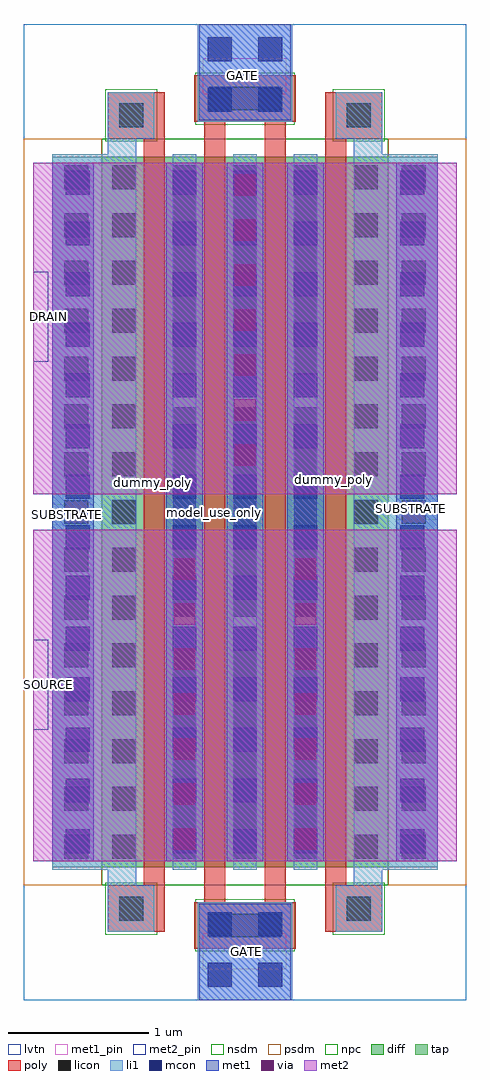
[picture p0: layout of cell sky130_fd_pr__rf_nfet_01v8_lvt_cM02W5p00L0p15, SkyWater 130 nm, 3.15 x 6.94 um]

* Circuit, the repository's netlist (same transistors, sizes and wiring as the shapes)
* Copyright 2020 The SkyWater PDK Authors
*
* Licensed under the Apache License, Version 2.0 (the "License");
* you may not use this file except in compliance with the License.
* You may obtain a copy of the License at
*
*     https://www.apache.org/licenses/LICENSE-2.0
*
* Unless required by applicable law or agreed to in writing, software
* distributed under the License is distributed on an "AS IS" BASIS,
* WITHOUT WARRANTIES OR CONDITIONS OF ANY KIND, either express or implied.
* See the License for the specific language governing permissions and
* limitations under the License.
*
* SPDX-License-Identifier: Apache-2.0


.subckt sky130_fd_pr__rf_nfet_01v8_lvt_cM02W5p00L0p15 DRAIN GATE SOURCE SUBSTRATE
X0 SOURCE SUBSTRATE SUBSTRATE SUBSTRATE sky130_fd_pr__nfet_01v8_lvt w=5.05e+06u l=150000u
X1 DRAIN GATE SOURCE SUBSTRATE sky130_fd_pr__nfet_01v8_lvt w=5.05e+06u l=150000u
X2 SUBSTRATE SUBSTRATE SOURCE SUBSTRATE sky130_fd_pr__nfet_01v8_lvt w=5.05e+06u l=150000u
X3 SOURCE GATE DRAIN SUBSTRATE sky130_fd_pr__nfet_01v8_lvt w=5.05e+06u l=150000u
.ends

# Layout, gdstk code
import gdstk
lib = gdstk.Library(unit=1e-6, precision=1e-09)
def R(c, l, rs):  # rectangles x0, y0, x1, y1
    for r in rs: c.add(gdstk.rectangle(r[:2], r[2:], *l))
def A(c, l, x, y, w, h, nx, ny, dx, dy):  # array of equal rectangles
    R(c, l, [(x+i*dx, y+j*dy, x+i*dx+w, y+j*dy+h) for i in range(nx) for j in range(ny)])
diff = (65, 20)
tap = (65, 44)
poly = (66, 20)
licon = (66, 44)
li1 = (67, 20)
mcon = (67, 44)
met1_pin = (68, 16)
met1 = (68, 20)
via = (68, 44)
met2_pin = (69, 16)
met2 = (69, 20)
nsdm = (93, 44)
psdm = (94, 20)
npc = (95, 20)
lvtn = (125, 44)

sky130_fd_pr__rf_nfet_01 = lib.new_cell('sky130_fd_pr__rf_nfet_01v8_lvt_cM02W5p00L0p15')
R(sky130_fd_pr__rf_nfet_01, diff, [(0.555,0.945,2.595,5.995)])
R(sky130_fd_pr__rf_nfet_01, tap, [(0.205,0.945,0.555,5.995), (2.595,0.945,2.945,5.995)])
R(sky130_fd_pr__rf_nfet_01, poly, [(1.215,0.365,1.935,0.695), (0.6,0.485,0.93,0.815), (0.855,0.485,1.005,6.455), (2.145,0.485,2.295,6.455), (2.22,0.485,2.55,0.815), (1.285,0.695,1.435,6.245), (1.715,0.695,1.865,6.245), (0.6,6.125,0.93,6.455), (2.22,6.125,2.55,6.455), (1.215,6.245,1.935,6.575)])
A(sky130_fd_pr__rf_nfet_01, licon, 0.29, 1.005, 0.17, 0.17, 1, 15, 0, 0.34)
A(sky130_fd_pr__rf_nfet_01, licon, 0.63, 1.005, 0.17, 0.17, 1, 15, 0, 0.34)
A(sky130_fd_pr__rf_nfet_01, licon, 1.06, 1.005, 0.17, 1.49, 3, 3, 0.43, 1.72)
A(sky130_fd_pr__rf_nfet_01, licon, 2.35, 1.005, 0.17, 0.17, 1, 15, 0, 0.34)
A(sky130_fd_pr__rf_nfet_01, licon, 2.69, 1.005, 0.17, 0.17, 1, 15, 0, 0.34)
R(sky130_fd_pr__rf_nfet_01, licon, [(1.32,0.445,1.83,0.615), (0.68,0.565,0.85,0.735), (2.3,0.565,2.47,0.735), (0.68,6.205,0.85,6.375), (2.3,6.205,2.47,6.375), (1.32,6.325,1.83,6.495)])
A(sky130_fd_pr__rf_nfet_01, li1, 1.06, 0.925, 0.17, 5.09, 3, 1, 0.43, 0)
A(sky130_fd_pr__rf_nfet_01, li1, 1.06, 2.125, 0.17, 2.69, 3, 1, 0.43, 0)
R(sky130_fd_pr__rf_nfet_01, li1, [(1.24,0,1.91,0.695), (0.6,0.485,0.93,0.815), (2.22,0.485,2.55,0.815), (0.6,0.815,0.8,0.925), (2.35,0.815,2.55,0.925), (0.205,0.925,0.8,6.015), (2.35,0.925,2.945,6.015), (0.32,1.045,0.49,5.895), (2.66,1.045,2.83,5.895), (0.6,6.015,0.8,6.125), (2.35,6.015,2.55,6.125), (0.6,6.125,0.93,6.455), (2.22,6.125,2.55,6.455), (1.24,6.245,1.91,6.94)])
A(sky130_fd_pr__rf_nfet_01, mcon, 0.3, 1.045, 0.17, 0.17, 1, 14, 0, 0.36)
A(sky130_fd_pr__rf_nfet_01, mcon, 1.06, 1.045, 0.17, 0.17, 3, 14, 0.43, 0.36)
A(sky130_fd_pr__rf_nfet_01, mcon, 2.68, 1.045, 0.17, 0.17, 1, 14, 0, 0.36)
R(sky130_fd_pr__rf_nfet_01, mcon, [(1.31,0.095,1.48,0.265), (1.67,0.095,1.84,0.265), (1.31,0.455,1.48,0.625), (1.67,0.455,1.84,0.625), (1.31,6.315,1.48,6.485), (1.67,6.315,1.84,6.485), (1.31,6.675,1.48,6.845), (1.67,6.675,1.84,6.845)])
R(sky130_fd_pr__rf_nfet_01, met1_pin, [(1.275,0.22,1.87,0.475), (0.205,3.375,0.5,3.525), (2.65,3.415,2.945,3.565), (1.275,6.44,1.87,6.695)])
A(sky130_fd_pr__rf_nfet_01, met1, 1.015, 0.985, 0.26, 4.97, 3, 1, 0.43, 0)
R(sky130_fd_pr__rf_nfet_01, met1, [(1.25,0,1.9,0.685), (0.205,0.985,0.5,5.955), (1.015,0.985,1.275,3.225), (1.875,0.985,2.135,3.225), (2.65,0.985,2.945,5.955), (1.445,3.715,1.705,5.955), (1.25,6.255,1.9,6.94)])
A(sky130_fd_pr__rf_nfet_01, via, 1.07, 1.07, 0.15, 0.15, 1, 7, 0, 0.32)
A(sky130_fd_pr__rf_nfet_01, via, 1.93, 1.07, 0.15, 0.15, 1, 7, 0, 0.32)
A(sky130_fd_pr__rf_nfet_01, via, 1.5, 3.8, 0.15, 0.15, 1, 7, 0, 0.32)
R(sky130_fd_pr__rf_nfet_01, met2_pin, [(0.07,1.92,0.175,2.56), (0.07,4.54,0.175,5.18)])
R(sky130_fd_pr__rf_nfet_01, met2, [(0.07,0.985,3.08,3.345), (1.015,0.985,1.275,3.225), (1.875,0.985,2.135,3.225), (0.07,3.595,3.08,5.955), (1.445,3.715,1.705,5.955)])
R(sky130_fd_pr__rf_nfet_01, nsdm, [(0.555,0.815,2.595,6.125)])
R(sky130_fd_pr__rf_nfet_01, psdm, [(0,0.815,0.555,6.125), (2.595,0.815,3.15,6.125)])
R(sky130_fd_pr__rf_nfet_01, npc, [(1.22,0.345,1.93,0.715), (0.58,0.465,0.95,0.835), (2.2,0.465,2.57,0.835), (0.58,6.105,0.95,6.475), (2.2,6.105,2.57,6.475), (1.22,6.225,1.93,6.595)])
R(sky130_fd_pr__rf_nfet_01, lvtn, [(0,0,3.15,6.94)])
sky130_fd_pr__rf_nfet_01.add(gdstk.Label('dummy_poly', (0.92,3.68), layer=83, texttype=44))
sky130_fd_pr__rf_nfet_01.add(gdstk.Label('dummy_poly', (2.205,3.7), layer=83, texttype=44))
sky130_fd_pr__rf_nfet_01.add(gdstk.Label('GATE', (1.56,6.575), layer=68, texttype=5))
sky130_fd_pr__rf_nfet_01.add(gdstk.Label('GATE', (1.585,0.345), layer=68, texttype=5))
sky130_fd_pr__rf_nfet_01.add(gdstk.Label('SUBSTRATE', (2.76,3.495), layer=68, texttype=16))
sky130_fd_pr__rf_nfet_01.add(gdstk.Label('SUBSTRATE', (0.315,3.455), layer=68, texttype=16))
sky130_fd_pr__rf_nfet_01.add(gdstk.Label('model_use_only', (1.36,3.47), layer=66, texttype=83))
sky130_fd_pr__rf_nfet_01.add(gdstk.Label('model_use_only', (1.79,3.47), layer=66, texttype=83))
sky130_fd_pr__rf_nfet_01.add(gdstk.Label('model_use_only', (2.21,3.47), layer=66, texttype=83))
sky130_fd_pr__rf_nfet_01.add(gdstk.Label('model_use_only', (0.915,3.47), layer=66, texttype=83))
sky130_fd_pr__rf_nfet_01.add(gdstk.Label('SOURCE', (0.175,2.24), layer=69, texttype=5))
sky130_fd_pr__rf_nfet_01.add(gdstk.Label('DRAIN', (0.175,4.86), layer=69, texttype=5))

lib.write_gds('sky130_fd_pr__rf_nfet_01v8_lvt_cM02W5p00L0p15.gds')
